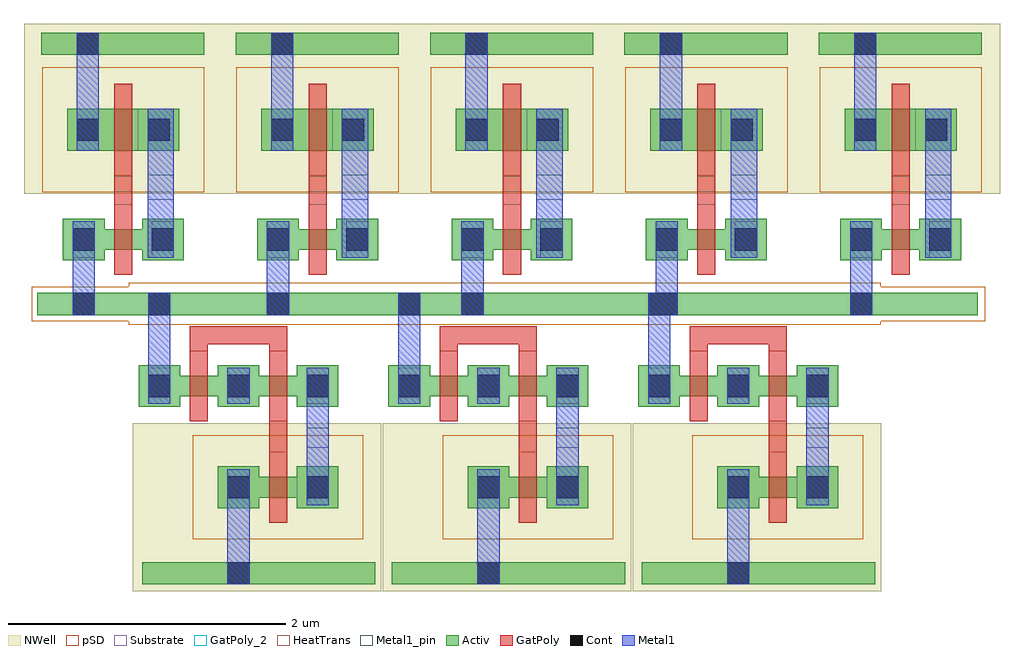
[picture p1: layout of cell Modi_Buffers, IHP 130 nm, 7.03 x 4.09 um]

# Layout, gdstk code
import gdstk
lib = gdstk.Library(unit=1e-6, precision=5e-09)
def R(c, l, rs):  # rectangles x0, y0, x1, y1
    for r in rs: c.add(gdstk.rectangle(r[:2], r[2:], *l))
Activ = (1, 0)
GatPoly = (5, 0)
GatPoly_2 = (5, 2)
Cont = (6, 0)
Metal1 = (8, 0)
Metal1_pin = (8, 2)
pSD = (14, 0)
NWell = (31, 0)
Substrate = (40, 0)
HeatTrans = (51, 0)

pmos_10 = lib.new_cell('pmos$10')
R(pmos_10, Activ, [(0,0,0.3,0.3), (0.57,0,0.87,0.3), (0,0.075,0.87,0.225)])
R(pmos_10, GatPoly, [(0.37,-0.105,0.5,0.405), (0.37,-0.105,0.5,0.405)])
R(pmos_10, Cont, [(0.07,0.07,0.23,0.23), (0.64,0.07,0.8,0.23)])
R(pmos_10, Metal1, [(0.07,0.02,0.23,0.28), (0.07,0.02,0.23,0.28), (0.64,0.02,0.8,0.28), (0.64,0.02,0.8,0.28)])
R(pmos_10, pSD, [(-0.18,-0.225,1.05,0.525)])
R(pmos_10, NWell, [(-0.31,-0.31,1.18,0.61)])
R(pmos_10, Substrate, [(0.57,0,0.87,0.3)])
R(pmos_10, HeatTrans, [(0.37,-0.105,0.5,0.405)])
pmos_10.add(gdstk.Label('pmos', (0.435,0.15), layer=63, texttype=0))
pmos_10.add(gdstk.Label('pmos', (0.435,0.15), layer=51, texttype=0))

nmos_11 = lib.new_cell('nmos$11')
R(nmos_11, Activ, [(0,0,0.3,0.3), (0.57,0,0.87,0.3), (0,0.075,0.87,0.225)])
R(nmos_11, GatPoly, [(0.37,-0.105,0.5,0.405)])
R(nmos_11, GatPoly_2, [(0.37,-0.105,0.5,0.405)])
R(nmos_11, Cont, [(0.07,0.07,0.23,0.23), (0.64,0.07,0.8,0.23)])
R(nmos_11, Metal1, [(0.07,0.02,0.23,0.28), (0.64,0.02,0.8,0.28)])
R(nmos_11, Metal1_pin, [(0.07,0.02,0.23,0.28), (0.64,0.02,0.8,0.28)])
R(nmos_11, HeatTrans, [(0.37,-0.105,0.5,0.405)])
nmos_11.add(gdstk.Label('nmos', (0.435,0.15), layer=63, texttype=0))
nmos_11.add(gdstk.Label('nmos', (0.435,0.15), layer=51, texttype=0))

inv05 = lib.new_cell('INV05')
R(inv05, Activ, [(-0.47,-1.255,1.21,-1.095), (-0.435,0.685,1.245,0.845)])
R(inv05, GatPoly_2, [(-0.09,-0.45,0.04,-0.33)])
R(inv05, Cont, [(-0.39,-1.255,-0.23,-1.095), (0.18,0.685,0.34,0.845)])
R(inv05, Metal1_pin, [(-0.39,-1.255,-0.23,-1.095), (0.75,-0.285,0.91,-0.14), (0.18,0.685,0.34,0.845)])
R(inv05, pSD, [(-0.53,-1.33,1.285,-1.025)])
R(inv05, NWell, [(-0.5,-0.315,-0.2,0.605), (-0.5,0.605,1.29,0.895)])
inv05.add(gdstk.FlexPath([(-0.025,-0.84),(-0.025,-0.95),(0.545,-0.95),(0.545,-0.84)], 0.13, ends="flush", simple_path=True, layer=5, datatype=0))  # GatPoly
inv05.add(gdstk.FlexPath([(0.545,-0.33),(0.545,-0.11)], 0.13, ends="flush", simple_path=True, layer=5, datatype=0))  # GatPoly
inv05.add(gdstk.FlexPath([(0.83,-0.455),(0.83,0.015)], 0.16, ends="flush", simple_path=True, layer=8, datatype=0))  # Metal1
inv05.add(gdstk.FlexPath([(-0.31,-1.255),(-0.31,-0.715)], 0.16, ends="flush", simple_path=True, layer=8, datatype=0))  # Metal1
inv05.add(gdstk.FlexPath([(0.26,0.275),(0.26,0.845)], 0.16, ends="flush", simple_path=True, layer=8, datatype=0))  # Metal1
inv05.add(gdstk.Reference(pmos_10, (0.11,-0.005)))
inv05.add(gdstk.Reference(nmos_11, (-0.46,-0.735)))
inv05.add(gdstk.Reference(nmos_11, (0.11,-0.735)))
inv05.add(gdstk.Label('VOUT', (0.88,-0.17), layer=8, texttype=2))
inv05.add(gdstk.Label('VSS', (-0.275,-1.15), layer=8, texttype=2))
inv05.add(gdstk.Label('VDD', (0.29,0.815), layer=8, texttype=2))
inv05.add(gdstk.Label('VIN', (0,-0.355), layer=5, texttype=2))

nmos_1_6 = lib.new_cell('nmos$1$6')
R(nmos_1_6, Activ, [(0,0,0.3,0.3), (0.57,0,0.87,0.3), (0,0.075,0.87,0.225)])
R(nmos_1_6, GatPoly, [(0.37,-0.105,0.5,0.405)])
R(nmos_1_6, GatPoly_2, [(0.37,-0.105,0.5,0.405)])
R(nmos_1_6, Cont, [(0.07,0.07,0.23,0.23), (0.64,0.07,0.8,0.23)])
R(nmos_1_6, Metal1, [(0.07,0.02,0.23,0.28), (0.64,0.02,0.8,0.28)])
R(nmos_1_6, Metal1_pin, [(0.07,0.02,0.23,0.28), (0.64,0.02,0.8,0.28)])
R(nmos_1_6, HeatTrans, [(0.37,-0.105,0.5,0.405)])
nmos_1_6.add(gdstk.Label('nmos', (0.435,0.15), layer=63, texttype=0))
nmos_1_6.add(gdstk.Label('nmos', (0.435,0.15), layer=51, texttype=0))

pmos_1_6 = lib.new_cell('pmos$1$6')
R(pmos_1_6, Activ, [(0,0,0.3,0.3), (0,0,0.81,0.3), (0.51,0,0.81,0.3)])
R(pmos_1_6, GatPoly, [(0.34,-0.18,0.47,0.48), (0.34,-0.18,0.47,0.48)])
R(pmos_1_6, Cont, [(0.07,0.07,0.23,0.23), (0.58,0.07,0.74,0.23)])
R(pmos_1_6, Metal1, [(0.07,0,0.23,0.3), (0.07,0,0.23,0.3), (0.58,0,0.74,0.3), (0.58,0,0.74,0.3)])
R(pmos_1_6, pSD, [(-0.18,-0.3,0.99,0.6)])
R(pmos_1_6, NWell, [(-0.31,-0.31,1.12,0.61)])
R(pmos_1_6, Substrate, [(0.51,0,0.81,0.3)])
R(pmos_1_6, HeatTrans, [(0.34,-0.18,0.47,0.48)])
pmos_1_6.add(gdstk.Label('pmos', (0.405,0.15), layer=63, texttype=0))
pmos_1_6.add(gdstk.Label('pmos', (0.405,0.15), layer=51, texttype=0))

inv_d1_6 = lib.new_cell('INV_D1$6')
R(inv_d1_6, Activ, [(-0.63,-1,0.545,-0.84), (-0.6,0.875,0.575,1.035)])
R(inv_d1_6, GatPoly, [(-0.075,-0.2,0.055,0.005)])
R(inv_d1_6, GatPoly_2, [(-0.075,-0.11,0.055,0.005)])
R(inv_d1_6, Cont, [(-0.375,-1,-0.215,-0.84), (-0.345,0.875,-0.185,1.035)])
R(inv_d1_6, Metal1, [(-0.375,-1,-0.215,-0.585), (0.165,-0.585,0.355,0.485), (-0.345,0.485,-0.185,1.035)])
R(inv_d1_6, Metal1_pin, [(-0.375,-1,-0.215,-0.84), (0.165,-0.17,0.355,0.01), (-0.345,0.875,-0.185,1.035)])
R(inv_d1_6, pSD, [(-0.67,-1.045,0.6,-0.795)])
R(inv_d1_6, NWell, [(-0.725,0.795,0.705,1.1)])
inv_d1_6.add(gdstk.Reference(nmos_1_6, (-0.445,-0.605)))
inv_d1_6.add(gdstk.Reference(pmos_1_6, (-0.415,0.185)))
inv_d1_6.add(gdstk.Label('VDD', (-0.215,1.01), layer=8, texttype=2))
inv_d1_6.add(gdstk.Label('VSS', (-0.26,-0.865), layer=8, texttype=2))
inv_d1_6.add(gdstk.Label('VOUT', (0.315,-0.025), layer=8, texttype=2))
inv_d1_6.add(gdstk.Label('VIN', (0.02,-0.01), layer=5, texttype=2))

modi_buffers = lib.new_cell('Modi_Buffers')
r = gdstk.Reference(inv05, (-1.45,0.48), x_reflection=True); r.repetition = gdstk.Repetition(3, 1, v1=(1.8,0), v2=(0,0)); modi_buffers.add(r)
r = gdstk.Reference(inv_d1_6, (-2.01,2.575)); r.repetition = gdstk.Repetition(5, 1, v1=(1.4,0), v2=(0,0)); modi_buffers.add(r)

lib.write_gds('Modi_Buffers.gds')
